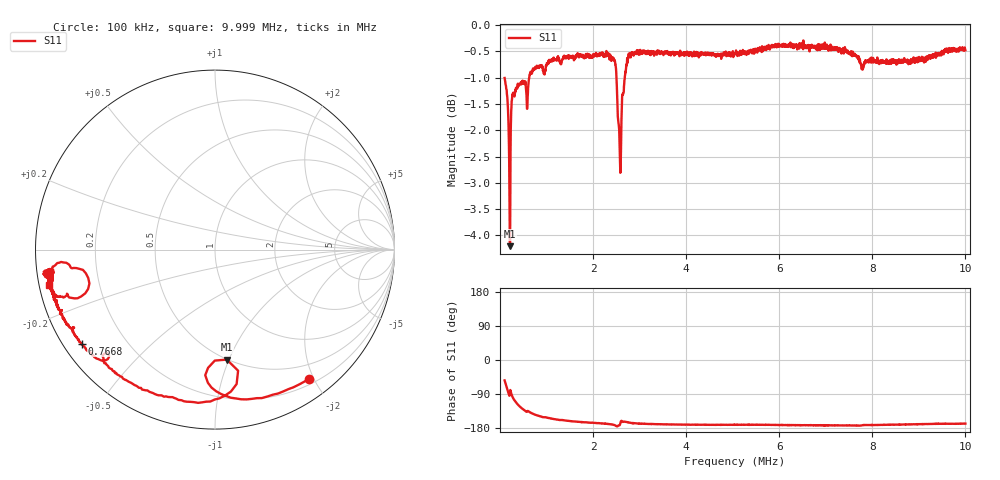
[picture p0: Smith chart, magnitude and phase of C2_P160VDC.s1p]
# HZ S RI R 50
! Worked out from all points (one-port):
!   2020 points, 100 kHz to 9.999 MHz, reference 50 ohm
!   lowest |S11| = -4.2 dB at 217.7 kHz (marker M1), VSWR 4.21, Z = 24.8 - j49.1 ohm
!   |S11| at or under -10 dB: nowhere
!   S11 on the Smith chart (normalised r, x): 100 kHz: 0.28, -1.94; 766.8 kHz: 0.05, -0.32; 9.999 MHz: 0.03, -0.11
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100000  0.5253 -0.7193
129418  0.3515 -0.8018
163739  0.1453 -0.834
217672  0.0658 -0.6128
266702  -0.0939 -0.8539
296120  -0.2037 -0.8373
364762  -0.3659 -0.7921
448113  -0.507 -0.7214
551076  -0.6201 -0.6225
766808  -0.743 -0.5239
923704  -0.7902 -0.4404
1340459  -0.8627 -0.3413
2286738  -0.9246 -0.1942
2443634  -0.9191 -0.1421
2531888  -0.8145 -0.0824
2576015  -0.7357 -0.113
2620142  -0.8022 -0.2683
2649560  -0.8229 -0.2513
2728008  -0.8822 -0.2597
2811359  -0.9118 -0.2273
3213405  -0.9226 -0.1832
3816474  -0.9275 -0.1561
5052030  -0.9278 -0.1473
6287586  -0.9449 -0.1355
7528045  -0.9347 -0.1199
7787904  -0.8982 -0.1255
8763601  -0.9095 -0.1563
9999157  -0.925 -0.199
